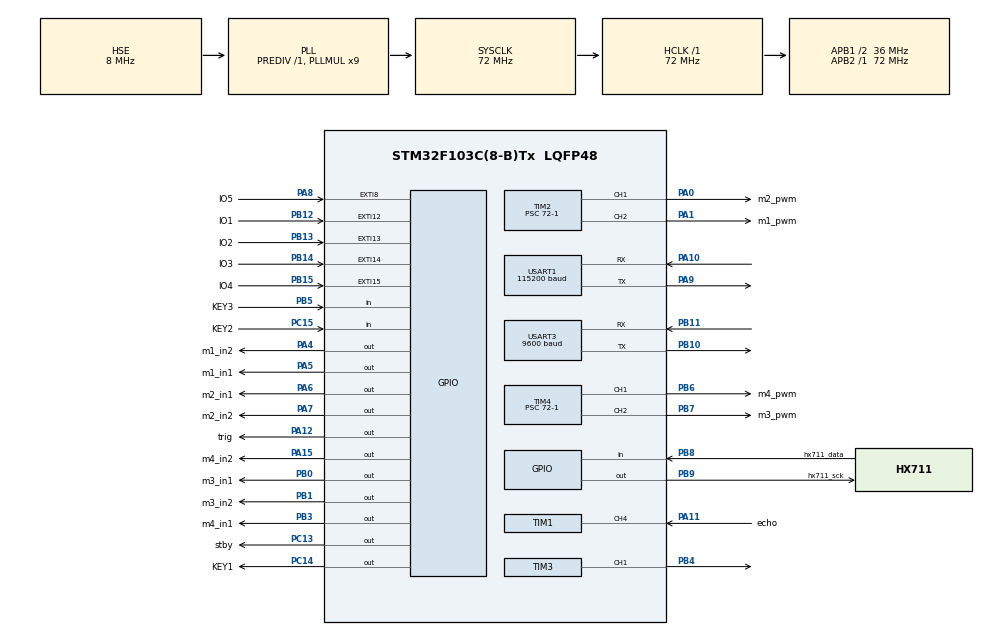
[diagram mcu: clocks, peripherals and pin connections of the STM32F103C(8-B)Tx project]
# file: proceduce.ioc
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Mcu.Family=STM32F1
Mcu.Name=STM32F103C(8-B)Tx
Mcu.Package=LQFP48
NVIC.EXTI15_10_IRQn=true\:3\:0\:true\:false\:true\:true\:true\:true
NVIC.EXTI9_5_IRQn=true\:3\:0\:true\:false\:true\:true\:true\:true
NVIC.PriorityGroup=NVIC_PRIORITYGROUP_4
NVIC.RCC_IRQn=true\:0\:0\:false\:false\:true\:true\:false\:true
NVIC.TIM1_CC_IRQn=true\:2\:0\:true\:false\:true\:true\:true\:true
NVIC.TIM1_TRG_COM_IRQn=true\:2\:0\:true\:false\:true\:true\:true\:true
NVIC.TIM1_UP_IRQn=true\:2\:0\:true\:false\:true\:true\:true\:true
NVIC.TIM2_IRQn=true\:2\:0\:true\:false\:true\:true\:true\:true
NVIC.TIM3_IRQn=true\:2\:0\:true\:false\:true\:true\:true\:true
NVIC.TIM4_IRQn=true\:2\:0\:true\:false\:true\:true\:true\:true
NVIC.USART1_IRQn=true\:0\:0\:true\:false\:true\:true\:true\:true
NVIC.USART3_IRQn=true\:0\:0\:true\:false\:true\:true\:true\:true
PA0-WKUP.GPIO_Label=m2_pwm
PA0-WKUP.Signal=S_TIM2_CH1_ETR
PA1.GPIO_Label=m1_pwm
PA1.Signal=S_TIM2_CH2
PA10.Mode=Asynchronous
PA10.Signal=USART1_RX
PA11.GPIO_Label=echo
PA11.GPIO_Mode=GPIO_MODE_INPUT
PA11.GPIO_PuPd=GPIO_NOPULL
PA11.Signal=S_TIM1_CH4
PA12.GPIO_Label=trig
PA12.Signal=GPIO_Output
PA13.Mode=Serial_Wire
PA13.Signal=SYS_JTMS-SWDIO
PA14.Mode=Serial_Wire
PA14.Signal=SYS_JTCK-SWCLK
PA15.GPIO_Label=m4_in2
PA15.Signal=GPIO_Output
PA4.GPIO_Label=m1_in2
PA4.Signal=GPIO_Output
PA5.GPIO_Label=m1_in1
PA5.Signal=GPIO_Output
PA6.GPIO_Label=m2_in1
PA6.Signal=GPIO_Output
PA7.GPIO_Label=m2_in2
PA7.Signal=GPIO_Output
PA8.GPIO_Label=IO5
PA8.GPIO_ModeDefaultEXTI=GPIO_MODE_IT_RISING_FALLING
PA8.Signal=GPXTI8
PA9.Mode=Asynchronous
PA9.Signal=USART1_TX
PB0.GPIO_Label=m3_in1
PB0.Signal=GPIO_Output
PB1.GPIO_Label=m3_in2
PB1.Signal=GPIO_Output
PB10.Mode=Asynchronous
PB10.Signal=USART3_TX
PB11.Mode=Asynchronous
PB11.Signal=USART3_RX
PB12.GPIO_Label=IO1
PB12.GPIO_ModeDefaultEXTI=GPIO_MODE_IT_RISING_FALLING
PB12.Signal=GPXTI12
PB13.GPIO_Label=IO2
PB13.GPIO_ModeDefaultEXTI=GPIO_MODE_IT_RISING_FALLING
PB13.Signal=GPXTI13
PB14.GPIO_Label=IO3
PB14.GPIO_ModeDefaultEXTI=GPIO_MODE_IT_RISING_FALLING
PB14.Signal=GPXTI14
PB15.GPIO_Label=IO4
PB15.GPIO_ModeDefaultEXTI=GPIO_MODE_IT_RISING_FALLING
PB15.Signal=GPXTI15
PB3.GPIO_Label=m4_in1
PB3.Signal=GPIO_Output
PB4.Signal=S_TIM3_CH1
PB5.GPIO_Label=KEY3
PB5.GPIO_PuPd=GPIO_PULLUP
PB5.Signal=GPIO_Input
PB6.GPIO_Label=m4_pwm
PB6.Signal=S_TIM4_CH1
PB7.GPIO_Label=m3_pwm
PB7.Signal=S_TIM4_CH2
PB8.GPIO_Label=hx711_data
PB8.GPIO_PuPd=GPIO_PULLUP
PB8.Signal=GPIO_Input
PB9.GPIO_Label=hx711_sck
PB9.Signal=GPIO_Output
PC13-TAMPER-RTC.GPIO_Label=stby
PC13-TAMPER-RTC.Signal=GPIO_Output
PC14-OSC32_IN.GPIO_Label=KEY1
PC14-OSC32_IN.GPIO_PuPd=GPIO_PULLUP
PC14-OSC32_IN.Signal=GPIO_Output
PC15-OSC32_OUT.GPIO_Label=KEY2
PC15-OSC32_OUT.GPIO_PuPd=GPIO_PULLUP
PC15-OSC32_OUT.Signal=GPIO_Input
PD0-OSC_IN.Mode=HSE-External-Oscillator
PD0-OSC_IN.Signal=RCC_OSC_IN
PD1-OSC_OUT.Mode=HSE-External-Oscillator
PD1-OSC_OUT.Signal=RCC_OSC_OUT
ProjectManager.HeapSize=0x200
ProjectManager.StackSize=0x400
ProjectManager.TargetToolchain=MDK-ARM V5.32
RCC.AHBFreq_Value=72000000
RCC.APB1CLKDivider=RCC_HCLK_DIV2
RCC.APB1Freq_Value=36000000
RCC.APB1TimFreq_Value=72000000
RCC.APB2Freq_Value=72000000
RCC.APB2TimFreq_Value=72000000
RCC.HCLKFreq_Value=72000000
RCC.PLLMUL=RCC_PLL_MUL9
RCC.PLLSourceVirtual=RCC_PLLSOURCE_HSE
RCC.SYSCLKFreq_VALUE=72000000
RCC.SYSCLKSource=RCC_SYSCLKSOURCE_PLLCLK
RCC.USBFreq_Value=72000000
SH.S_TIM1_CH4.0=TIM1_CH4,Input_Capture4_from_TI4
SH.S_TIM2_CH1_ETR.0=TIM2_CH1,PWM Generation1 CH1
SH.S_TIM2_CH2.0=TIM2_CH2,PWM Generation2 CH2
SH.S_TIM3_CH1.0=TIM3_CH1,PWM Generation1 CH1
SH.S_TIM4_CH1.0=TIM4_CH1,PWM Generation1 CH1
SH.S_TIM4_CH2.0=TIM4_CH2,PWM Generation2 CH2
TIM1.Channel-Input_Capture4_from_TI4=TIM_CHANNEL_4
TIM1.ICPolarity_CH4=TIM_INPUTCHANNELPOLARITY_RISING
TIM1.Prescaler=72-1
TIM2.Channel-PWM\ Generation1\ CH1=TIM_CHANNEL_1
TIM2.Channel-PWM\ Generation2\ CH2=TIM_CHANNEL_2
TIM2.Period=100-1
TIM2.Prescaler=72-1
TIM3.Channel-PWM\ Generation1\ CH1=TIM_CHANNEL_1
TIM3.Period=720-1
TIM3.Prescaler=2000-1
TIM3.Pulse-PWM\ Generation1\ CH1=50
TIM4.Channel-PWM\ Generation1\ CH1=TIM_CHANNEL_1
TIM4.Channel-PWM\ Generation2\ CH2=TIM_CHANNEL_2
TIM4.Period=100-1
TIM4.Prescaler=72-1
USART1.BaudRate=115200
USART1.VirtualMode=VM_ASYNC
USART3.BaudRate=9600
USART3.VirtualMode=VM_ASYNC
VP_TIM1_VS_ClockSourceINT.Mode=Internal
board=custom

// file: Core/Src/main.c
/* USER CODE BEGIN Header */
/**
  ******************************************************************************
  * @file           : main.c
  * @brief          : Main program body
  ******************************************************************************
  * @attention
  *
  * Copyright (c) 2023 STMicroelectronics.
  * All rights reserved.
  *
  * This software is licensed under terms that can be found in the LICENSE file
  * in the root directory of this software component.
  * If no LICENSE file comes with this software, it is provided AS-IS.
  *
  ******************************************************************************
  */
/* USER CODE END Header */
#include "main.h"
#include "tim.h"
#include "usart.h"
#include "gpio.h"

/* USER CODE BEGIN Includes */
#include "motor.h"
#include "UART.h"
#include "stdio.h"
#include "hc_sr04.h"
#include "infrared.h"
#include "hx711.h"
#include "delay.h"
#include "car_control.h"
/* USER CODE END Includes */

/* USER CODE BEGIN PV */
char SpeakerToWarning=0;
char SpeakerToWarningTemp=0;

//按键3
char key3[2]={0};
//小车开始送餐标志
char CarGo = 0;
//重量ADC值
uint32_t Weight = 0;
//终点检测
char IO[5] ={0};
//小车行为
char behavior=0;
/* USER CODE END PV */

void SystemClock_Config(void);

/* USER CODE BEGIN 0 */
//小车调头
#define  turn_Round(ms) \
Infared.switchtemp=0; \
Motor_rightRe();      \
Delay_ms(ms);

/* USER CODE END 0 */

int main(void)
{

  /* MCU Configuration--------------------------------------------------------*/

  /* Reset of all peripherals, Initializes the Flash interface and the Systick. */
  HAL_Init();

  /* Configure the system clock */
  SystemClock_Config();

  /* Initialize all configured peripherals */
  MX_GPIO_Init();
  MX_TIM3_Init();
  MX_USART1_UART_Init();
  MX_USART3_UART_Init();
  MX_TIM2_Init();
  MX_TIM1_Init();
  MX_TIM4_Init();
  /* USER CODE BEGIN 2 */
	Motor_init();
	UartInit(&huart1,&UART1);
	UartInit(&huart3,&UART3);
	Hcsr04Init(&htim1, TIM_CHANNEL_4);  //超声波模块初始化
	printf("START\n");
	Motor_init();
	Get_Maopi();     //测试校准值
		Delay_ms(100);
	Get_Maopi();
		Delay_ms(2000);
	Hcsr04Info.distance=20;
	Infared.switchtemp=0;
	Areturn.ReAdd=0;
	Areturn.EnReturn=0;
//	Speaker("/00003*MP3");
char startflage=0;
  /* USER CODE END 2 */

  /* Infinite loop */
  while (1)
  {

    /* USER CODE BEGIN 3 */

		if(!startflage)Car_depart(&startflage);

		if(startflage)Car_return(&startflage);

  }
  /* USER CODE END 3 */
}

void SystemClock_Config(void)
{
  RCC_OscInitTypeDef RCC_OscInitStruct = {0};
  RCC_ClkInitTypeDef RCC_ClkInitStruct = {0};

  /** Initializes the RCC Oscillators according to the specified parameters
  * in the RCC_OscInitTypeDef structure.
  */
  RCC_OscInitStruct.OscillatorType = RCC_OSCILLATORTYPE_HSE;
  RCC_OscInitStruct.HSEState = RCC_HSE_ON;
  RCC_OscInitStruct.HSEPredivValue = RCC_HSE_PREDIV_DIV1;
  RCC_OscInitStruct.HSIState = RCC_HSI_ON;
  RCC_OscInitStruct.PLL.PLLState = RCC_PLL_ON;
  RCC_OscInitStruct.PLL.PLLSource = RCC_PLLSOURCE_HSE;
  RCC_OscInitStruct.PLL.PLLMUL = RCC_PLL_MUL9;
  if (HAL_RCC_OscConfig(&RCC_OscInitStruct) != HAL_OK)
  {
    Error_Handler();
  }

  /** Initializes the CPU, AHB and APB buses clocks
  */
  RCC_ClkInitStruct.ClockType = RCC_CLOCKTYPE_HCLK|RCC_CLOCKTYPE_SYSCLK
                              |RCC_CLOCKTYPE_PCLK1|RCC_CLOCKTYPE_PCLK2;
  RCC_ClkInitStruct.SYSCLKSource = RCC_SYSCLKSOURCE_PLLCLK;
  RCC_ClkInitStruct.AHBCLKDivider = RCC_SYSCLK_DIV1;
  RCC_ClkInitStruct.APB1CLKDivider = RCC_HCLK_DIV2;
  RCC_ClkInitStruct.APB2CLKDivider = RCC_HCLK_DIV1;

  if (HAL_RCC_ClockConfig(&RCC_ClkInitStruct, FLASH_LATENCY_2) != HAL_OK)
  {
    Error_Handler();
  }
}

void Error_Handler(void)
{
  __disable_irq();
  while (1)
  {
  }
}
